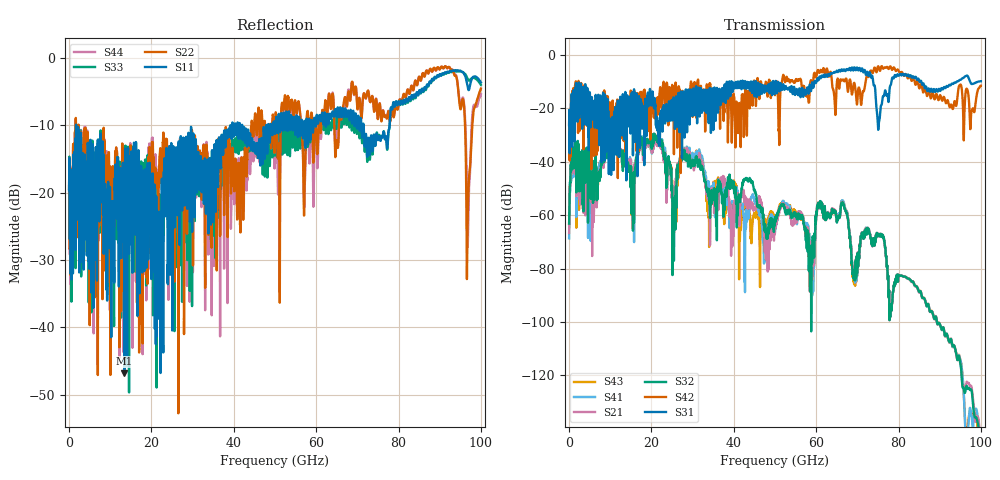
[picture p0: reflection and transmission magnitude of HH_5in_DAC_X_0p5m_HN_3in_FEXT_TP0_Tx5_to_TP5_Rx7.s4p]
# GHz S RI R 45
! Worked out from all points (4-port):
!   4000 points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, 25 MHz to 100 GHz, reference 45 ohm
!   strongest paths, dB at 25 MHz, 25.02 GHz, 50.02 GHz, 75.03 GHz, 100 GHz:
!     S31: -26.3, -23.4, -11.7, -27.5, -9.8
!     S42: -26.1, -11.5, -14.7, -4.3, -11.5
!     S32: -63.2, -49.2, -61.7, -67.2, -152.5
!     S21: -66.7, -50.6, -64.5, -67.2, -146.9
!     S41: -68.7, -49.4, -65.3, -67.2, -157.7
!     S43: -63.3, -47.3, -62.3, -67.2, -157.1
!   lowest |S11| = -46.8 dB at 13.45 GHz (marker M1), VSWR 1.01, Z = 45.4 - j0.196 ohm
!   |S11| at or under -10 dB: 1.706 GHz to 39.17 GHz (37.47 GHz wide, 183 % of centre); 42.03 GHz to 47.87 GHz (5.841 GHz wide, 13 % of centre); 71.52 GHz to 77.83 GHz (6.311 GHz wide, 8.45 % of centre)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
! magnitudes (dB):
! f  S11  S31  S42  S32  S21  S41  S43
! 25 MHz  -19.6  -26.3  -26.1  -63.2  -66.7  -68.7  -63.3
! 1.25 GHz  -14.3  -13.9  -13.8  -35.4  -37.4  -40.5  -37.2
! 13.45 GHz  -46.8  -25.3  -19.2  -37.0  -37.4  -37.7  -37.7
! 47.55 GHz  -15.0  -12.5  -12.1  -64.8  -73.9  -73.4  -61.8
! 66.45 GHz  -7.4  -6.0  -9.2  -55.9  -55.7  -55.2  -55.3
! 69.25 GHz  -10.0  -4.7  -10.4  -84.2  -82.8  -84.2  -85.8
! 100 GHz  -3.6  -9.8  -11.5  -152.5  -146.9  -157.7  -157.1
